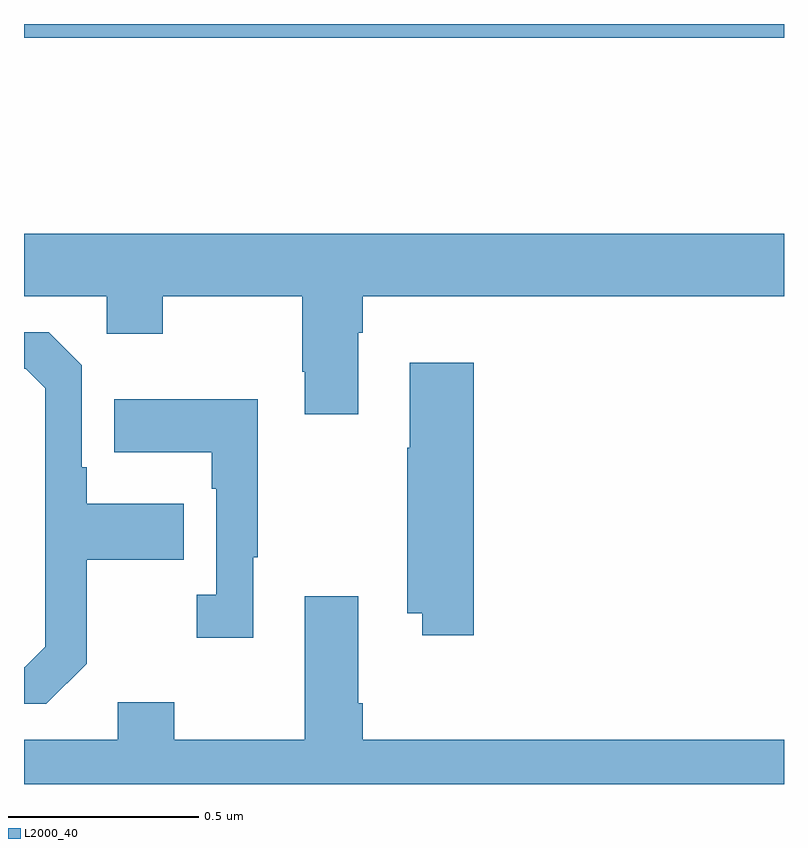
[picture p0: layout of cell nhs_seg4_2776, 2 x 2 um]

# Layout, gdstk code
import gdstk
lib = gdstk.Library(unit=1e-6, precision=1e-09)
def R(c, l, rs):  # rectangles x0, y0, x1, y1
    for r in rs: c.add(gdstk.rectangle(r[:2], r[2:], *l))
def P(c, l, *ps):  # polygons
    for p in ps: c.add(gdstk.Polygon(p, *l))
L2000_40 = (2000, 40)

nhs_seg4_2776 = lib.new_cell('nhs_seg4_2776')
R(nhs_seg4_2776, L2000_40, [(145,766.864,147,766.9)])
P(nhs_seg4_2776, L2000_40, [(145.879,766.088),(145.892,766.088),(145.892,766.184),(147,766.184),(147,766.348),(145,766.348),(145,766.184),(145.218,766.184),(145.218,766.085),(145.365,766.085),(145.365,766.184),(145.732,766.184),(145.732,765.985),(145.739,765.985),(145.739,765.873),(145.879,765.873)],
  [(145.165,765.217),(145.165,765.49),(145.421,765.49),(145.421,765.637),(145.165,765.637),(145.165,765.733),(145.152,765.733),(145.152,766.002),(145.065,766.089),(145,766.089),(145,765.993),(145.005,765.993),(145.056,765.942),(145.056,765.261),(145.002,765.207),(145,765.207),(145,765.111),(145.059,765.111)],
  [(146.183,766.009),(146.015,766.009),(146.015,765.785),(146.008,765.785),(146.008,765.35),(146.048,765.35),(146.048,765.291),(146.183,765.291)],
  [(145.603,765.497),(145.615,765.497),(145.615,765.913),(145.237,765.913),(145.237,765.773),(145.494,765.773),(145.494,765.677),(145.506,765.677),(145.506,765.398),(145.455,765.398),(145.455,765.285),(145.603,765.285)],
  [(147,765.016),(145.892,765.016),(145.892,765.112),(145.879,765.112),(145.879,765.394),(145.739,765.394),(145.739,765.016),(145.395,765.016),(145.395,765.115),(145.247,765.115),(145.247,765.016),(145,765.016),(145,764.9),(147,764.9)])

lib.write_gds('nhs_seg4_2776.gds')
